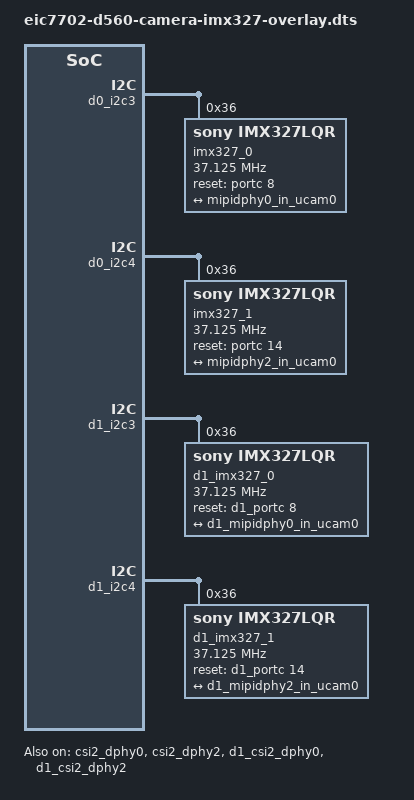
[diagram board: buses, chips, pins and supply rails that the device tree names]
/* SPDX-License-Identifier: GPL-2.0 */
/*
 * Copyright 2026, Beijing ESWIN Computing Technology Co., Ltd.. All rights reserved.
 *
 */

/dts-v1/;
/plugin/;

/ {
	fragment@0 {
		target = <&vi_subsys>;
		__overlay__ {
			phy_mode = <5>;
		};
	};

	fragment@1 {
		target = <&d1_vi_subsys>;
		__overlay__ {
			phy_mode = <5>;
		};
	};

	fragment@2 {
		target = <&mipi_csi2_0>;
		__overlay__ {
			num_lanes = <2>;
		};
	};

	fragment@3 {
		target = <&mipi_csi2_2>;
		__overlay__ {
			num_lanes = <2>;
		};
	};

	fragment@4 {
		target = <&d1_mipi_csi2_0>;
		__overlay__ {
			num_lanes = <2>;
		};
	};

	fragment@5 {
		target = <&d1_mipi_csi2_2>;
		__overlay__ {
			num_lanes = <2>;
		};
	};

	fragment@6 {
		target = <&csi2_dphy_hw0>;
		__overlay__ {
			lanes = <1 2>;
			lanes-dp-dn = <0 0>;
		};
	};

	fragment@7 {
		target = <&csi2_dphy_hw2>;
		__overlay__ {
			lanes = <1 2>;
			lanes-dp-dn = <0 0>;
		};
	};

	fragment@8 {
		target = <&d1_csi2_dphy_hw0>;
		__overlay__ {
			lanes = <1 2>;
			lanes-dp-dn = <0 0>;
		};
	};

	fragment@9 {
		target = <&d1_csi2_dphy_hw2>;
		__overlay__ {
			lanes = <1 2>;
			lanes-dp-dn = <0 0>;
		};
	};

	fragment@10 { 
		target = <&mipidphy0_in_ucam0>;
		__overlay__ {
			remote-endpoint = <&imx327_out0>;
			data-lanes = <1 2>;
		};
	};

	fragment@11 {
		target = <&mipidphy2_in_ucam0>;
		__overlay__ {
			remote-endpoint = <&imx327_out1>;
			data-lanes = <1 2>;
		};
	};

	fragment@12 {
		target = <&d1_mipidphy0_in_ucam0>;
		__overlay__ {
			remote-endpoint = <&d1_imx327_out0>;
			data-lanes = <1 2>;
		};
	};

	fragment@13 {
		target = <&d1_mipidphy2_in_ucam0>;
		__overlay__ {
			remote-endpoint = <&d1_imx327_out1>;
			data-lanes = <1 2>;
		};
	};

	fragment@14 {
		target = <&csi2_dphy0>;
		__overlay__ {
			status = "okay";
		};
	};

	fragment@15 {
		target = <&csi2_dphy2>;
		__overlay__ {
			status = "okay";
		};
	};

	fragment@16 {
		target = <&d1_csi2_dphy0>;
		__overlay__ {
			status = "okay";
		};
	};

	fragment@17 {
		target = <&d1_csi2_dphy2>;
		__overlay__ {
			status = "okay";
		};
	};

	fragment@18 {
		target = <&d0_i2c3>;
		__overlay__ {
			#address-cells = <1>;
			#size-cells = <0>;
			imx327_0:imx327@36 {
				compatible = "sony,imx327lqr";
				reg = <0x36>;
				clock-names="xclk";
				clocks = <&d0_clock 0x244>;
				assigned-clocks = <&d0_clock 0x244>;
				assigned-clock-rates = <37125000>;
				clock-frequency = <37125000>;
				reset-gpio = <&portc 8 0>;
				power-domains = <&d0_pmu 2>;
				status = "okay";
				port {
					imx327_out0: endpoint {
						remote-endpoint = <&mipidphy0_in_ucam0>;
						data-lanes = <1 2>;
						link-frequencies = /bits/ 64 <445500000 297000000>;
					};
				};
			};
		};
	};

	fragment@19 {
		target = <&d0_i2c4>;
		__overlay__ {
			#address-cells = <1>;
			#size-cells = <0>;
			imx327_1:imx327@36 {
				compatible = "sony,imx327lqr";
				reg = <0x36>;
				clock-names="xclk";
				clocks = <&d0_clock 0x244>;
				assigned-clocks = <&d0_clock 0x244>;
				assigned-clock-rates = <37125000>;
				clock-frequency = <37125000>;
				reset-gpio = <&portc 14 0>;
				power-domains = <&d0_pmu 2>;
				status = "okay";
				port {
					imx327_out1: endpoint {
						remote-endpoint = <&mipidphy2_in_ucam0>;
						data-lanes = <1 2>;
						link-frequencies = /bits/ 64 <445500000 297000000>;
					};
				};
			};
		};
	};

	fragment@20 {
		target = <&d1_i2c3>;
		__overlay__ {
			#address-cells = <1>;
			#size-cells = <0>;
			d1_imx327_0: imx327@36 {
				compatible = "sony,imx327lqr";
				reg = <0x36>;
				clock-names="xclk";
				clocks = <&d1_clock 0x244>;
				assigned-clocks = <&d1_clock 0x244>;
				assigned-clock-rates = <37125000>;
				clock-frequency = <37125000>;
				reset-gpio = <&d1_portc 8 0>;
				power-domains = <&d1_pmu 2>;
				status = "okay";
				port {
					d1_imx327_out0: endpoint {
						remote-endpoint = <&d1_mipidphy0_in_ucam0>;
						data-lanes = <1 2>;
						link-frequencies = /bits/ 64 <445500000 297000000>;
					};
				};
			};
		};
	};

	fragment@21 {
		target = <&d1_i2c4>;
		__overlay__ {
			#address-cells = <1>;
			#size-cells = <0>;
			d1_imx327_1: imx327@36 {
				compatible = "sony,imx327lqr";
				reg = <0x36>;
				clock-names="xclk";
				clocks = <&d1_clock 0x244>;
				assigned-clocks = <&d1_clock 0x244>;
				assigned-clock-rates = <37125000>;
				clock-frequency = <37125000>;
				reset-gpio = <&d1_portc 14 0>;
				power-domains = <&d1_pmu 2>;
				status = "okay";
				port {
					d1_imx327_out1: endpoint {
						remote-endpoint = <&d1_mipidphy2_in_ucam0>;
						data-lanes = <1 2>;
						link-frequencies = /bits/ 64 <445500000 297000000>;
					};
				};
			};
		};
	};

	fragment@22 {
		target = <&camera_imx219>;
		__overlay__ {
			status = "disabled";
		};
	};

	fragment@23 {
		target = <&camera_imx219_1>;
		__overlay__ {
			status = "disabled";
		};
	};

	fragment@24 {
		target = <&d1_camera_imx219>;
		__overlay__ {
			status = "disabled";
		};
	};

	fragment@25 {
		target = <&d1_camera_imx219_1>;
		__overlay__ {
			status = "disabled";
		};
	};
};
